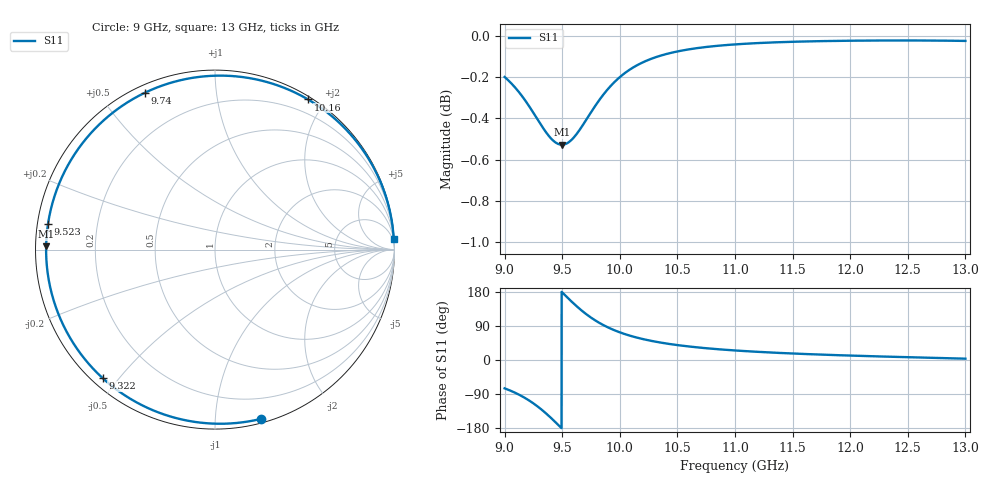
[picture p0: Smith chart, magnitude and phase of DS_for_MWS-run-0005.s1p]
! TOUCHSTONE file generated by CST DESIGN STUDIO
! Date and time: Wed Feb  5 13:20:43 2025
! Project name: C:\Work\MatlabApps\UnitCellOptimizationMatlab\CST\unitcell.cst
! Tree item: Tasks\Sweep1\SPara1\S-Parameters
! Header version: 2024
! Port assignment regex: !\s*Touchstone port\s*([0-9]+)\s*=\s*(CST MWS port|CST DES external port|CST DES block port)\s*(.+)\s* \(\"(.*)\"\)(\s*mode\s*([0-9]+))?.*
! Touchstone port assignment:
! Touchstone port 1 = CST DES external port 1 ("")
# GHz S MA R 50
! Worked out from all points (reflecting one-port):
!   4001 points, 9 GHz to 13 GHz, reference 50 ohm
!   lowest |S11| = -0.5 dB at 9.498 GHz (marker M1), VSWR 32.93, Z = 1.52 + j0.47 ohm
!   phase of S11 starts at -75 deg and turns -282 deg over the sweep
!   S11 on the Smith chart (normalised r, x): 9 GHz: 0.03, -1.31; 9.322 GHz: 0.03, -0.45; 9.523 GHz: 0.03, +0.08; 9.74 GHz: 0.03, +0.65; 10.16 GHz: 0.03, +1.80; 13 GHz: 1, +32
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9  0.9774 -74.8
9.085  0.9721 -85.5
9.186  0.964 -101.8
9.257  0.9573 -116.0
9.322  0.951 -131.2
9.369  0.9469 -143.5
9.418  0.9434 -157.3
9.459  0.9416 -169.3
9.498  0.9411 178.9
9.5  0.9411 178.3
9.523  0.9413 171.4
9.576  0.9433 155.7
9.636  0.9476 139.0
9.687  0.9522 126.1
9.74  0.9573 114.0
9.793  0.9623 103.3
9.851  0.9673 93.1
9.925  0.9728 82.2
10  0.9773 73.0
10.16  0.9842 58.2
10.314  0.9883 48.1
10.5  0.9915 39.4
10.722  0.9937 31.9
11  0.9954 25.2
11.5  0.9969 17.1
12  0.9974 11.7
12.5  0.9976 7.4
13  0.9973 3.5
